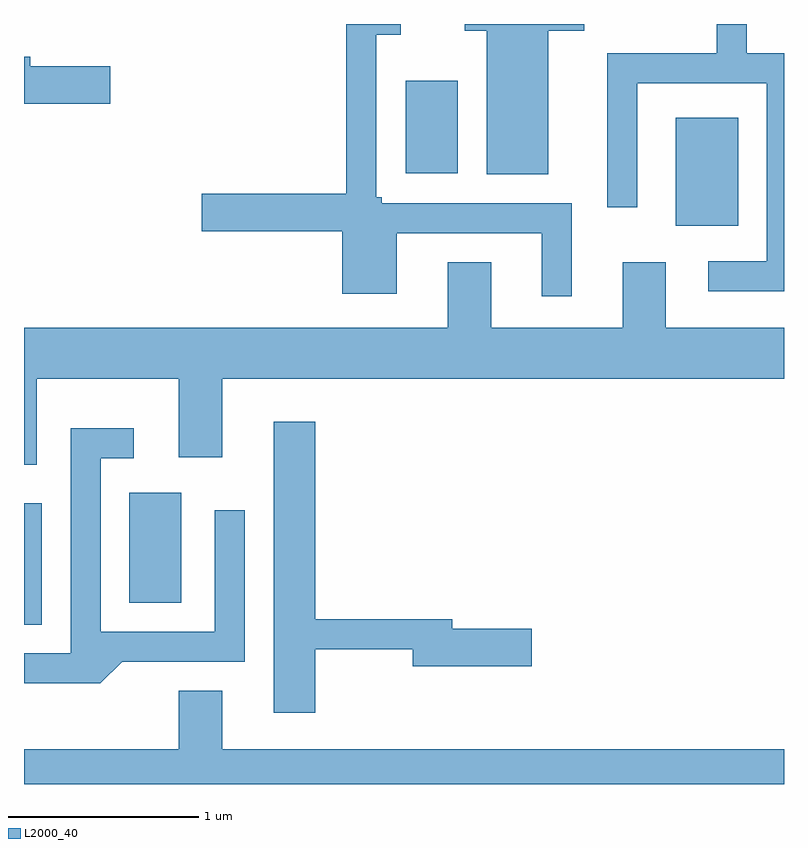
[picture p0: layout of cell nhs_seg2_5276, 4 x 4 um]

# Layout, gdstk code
import gdstk
lib = gdstk.Library(unit=1e-6, precision=1e-09)
def R(c, l, rs):  # rectangles x0, y0, x1, y1
    for r in rs: c.add(gdstk.rectangle(r[:2], r[2:], *l))
def P(c, l, *ps):  # polygons
    for p in ps: c.add(gdstk.Polygon(p, *l))
L2000_40 = (2000, 40)

nhs_seg2_5276 = lib.new_cell('nhs_seg2_5276')
R(nhs_seg2_5276, L2000_40, [(341.611,982.641,341.704,983.279), (342.166,982.756,342.439,983.334), (345.041,984.741,345.369,985.309), (343.621,985.016,343.894,985.504)])
P(nhs_seg2_5276, L2000_40, [(344.369,985.766),(344.559,985.766),(344.559,985.802),(343.931,985.802),(343.931,985.766),(344.046,985.766),(344.046,985.011),(344.369,985.011)],
  [(345.611,985.649),(345.414,985.649),(345.414,985.802),(345.256,985.802),(345.256,985.649),(344.681,985.649),(344.681,984.838),(344.839,984.838),(344.839,985.491),(345.521,985.491),(345.521,984.554),(345.213,984.554),(345.213,984.396),(345.611,984.396)],
  [(344.494,984.859),(343.494,984.859),(343.494,984.889),(343.464,984.889),(343.464,985.746),(343.594,985.746),(343.594,985.802),(343.306,985.802),(343.306,984.909),(342.546,984.909),(342.546,984.711),(343.286,984.711),(343.286,984.381),(343.574,984.381),(343.574,984.701),(344.336,984.701),(344.336,984.368),(344.494,984.368)],
  [(342.064,985.579),(341.644,985.579),(341.644,985.629),(341.611,985.629),(341.611,985.381),(342.064,985.381)],
  [(341.679,983.936),(342.426,983.936),(342.426,983.521),(342.654,983.521),(342.654,983.936),(345.611,983.936),(345.611,984.204),(344.989,984.204),(344.989,984.549),(344.761,984.549),(344.761,984.204),(344.069,984.204),(344.069,984.549),(343.841,984.549),(343.841,984.204),(341.611,984.204),(341.611,983.481),(341.679,983.481)],
  [(343.144,982.511),(343.656,982.511),(343.656,982.421),(344.284,982.421),(344.284,982.619),(343.864,982.619),(343.864,982.669),(343.144,982.669),(343.144,983.709),(342.926,983.709),(342.926,982.176),(343.144,982.176)],
  [(342.127,982.446),(342.774,982.446),(342.774,983.243),(342.616,983.243),(342.616,982.604),(342.014,982.604),(342.014,983.516),(342.188,983.516),(342.188,983.674),(341.856,983.674),(341.856,982.489),(341.611,982.489),(341.611,982.331),(342.012,982.331)],
  [(345.611,981.984),(342.654,981.984),(342.654,982.294),(342.426,982.294),(342.426,981.984),(341.611,981.984),(341.611,981.802),(345.611,981.802)])

lib.write_gds('nhs_seg2_5276.gds')
